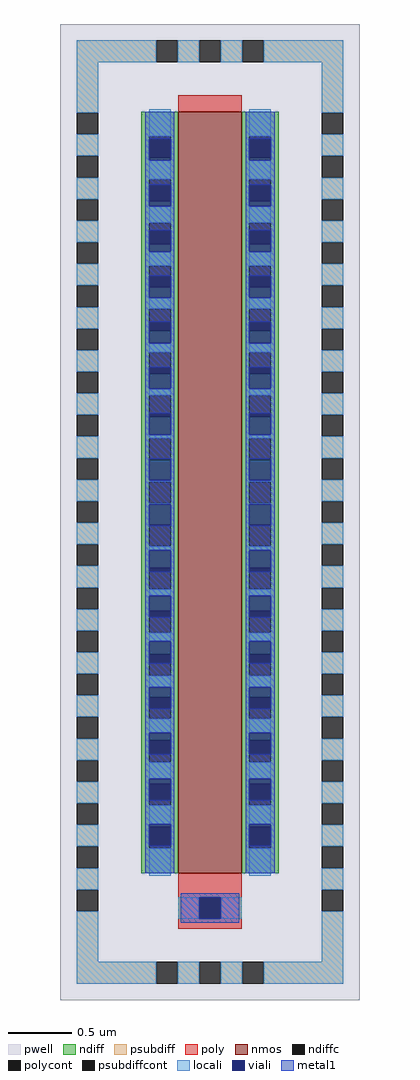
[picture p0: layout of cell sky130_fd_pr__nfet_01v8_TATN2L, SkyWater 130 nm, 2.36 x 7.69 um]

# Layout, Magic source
magic
tech sky130A
magscale 1 2
<< pwell >>
rect -236 -769 236 769
<< nmos >>
rect -50 -569 50 631
<< ndiff >>
rect -108 592 -50 631
rect -108 558 -96 592
rect -62 558 -50 592
rect -108 524 -50 558
rect -108 490 -96 524
rect -62 490 -50 524
rect -108 456 -50 490
rect -108 422 -96 456
rect -62 422 -50 456
rect -108 388 -50 422
rect -108 354 -96 388
rect -62 354 -50 388
rect -108 320 -50 354
rect -108 286 -96 320
rect -62 286 -50 320
rect -108 252 -50 286
rect -108 218 -96 252
rect -62 218 -50 252
rect -108 184 -50 218
rect -108 150 -96 184
rect -62 150 -50 184
rect -108 116 -50 150
rect -108 82 -96 116
rect -62 82 -50 116
rect -108 48 -50 82
rect -108 14 -96 48
rect -62 14 -50 48
rect -108 -20 -50 14
rect -108 -54 -96 -20
rect -62 -54 -50 -20
rect -108 -88 -50 -54
rect -108 -122 -96 -88
rect -62 -122 -50 -88
rect -108 -156 -50 -122
rect -108 -190 -96 -156
rect -62 -190 -50 -156
rect -108 -224 -50 -190
rect -108 -258 -96 -224
rect -62 -258 -50 -224
rect -108 -292 -50 -258
rect -108 -326 -96 -292
rect -62 -326 -50 -292
rect -108 -360 -50 -326
rect -108 -394 -96 -360
rect -62 -394 -50 -360
rect -108 -428 -50 -394
rect -108 -462 -96 -428
rect -62 -462 -50 -428
rect -108 -496 -50 -462
rect -108 -530 -96 -496
rect -62 -530 -50 -496
rect -108 -569 -50 -530
rect 50 592 108 631
rect 50 558 62 592
rect 96 558 108 592
rect 50 524 108 558
rect 50 490 62 524
rect 96 490 108 524
rect 50 456 108 490
rect 50 422 62 456
rect 96 422 108 456
rect 50 388 108 422
rect 50 354 62 388
rect 96 354 108 388
rect 50 320 108 354
rect 50 286 62 320
rect 96 286 108 320
rect 50 252 108 286
rect 50 218 62 252
rect 96 218 108 252
rect 50 184 108 218
rect 50 150 62 184
rect 96 150 108 184
rect 50 116 108 150
rect 50 82 62 116
rect 96 82 108 116
rect 50 48 108 82
rect 50 14 62 48
rect 96 14 108 48
rect 50 -20 108 14
rect 50 -54 62 -20
rect 96 -54 108 -20
rect 50 -88 108 -54
rect 50 -122 62 -88
rect 96 -122 108 -88
rect 50 -156 108 -122
rect 50 -190 62 -156
rect 96 -190 108 -156
rect 50 -224 108 -190
rect 50 -258 62 -224
rect 96 -258 108 -224
rect 50 -292 108 -258
rect 50 -326 62 -292
rect 96 -326 108 -292
rect 50 -360 108 -326
rect 50 -394 62 -360
rect 96 -394 108 -360
rect 50 -428 108 -394
rect 50 -462 62 -428
rect 96 -462 108 -428
rect 50 -496 108 -462
rect 50 -530 62 -496
rect 96 -530 108 -496
rect 50 -569 108 -530
<< ndiffc >>
rect -96 558 -62 592
rect -96 490 -62 524
rect -96 422 -62 456
rect -96 354 -62 388
rect -96 286 -62 320
rect -96 218 -62 252
rect -96 150 -62 184
rect -96 82 -62 116
rect -96 14 -62 48
rect -96 -54 -62 -20
rect -96 -122 -62 -88
rect -96 -190 -62 -156
rect -96 -258 -62 -224
rect -96 -326 -62 -292
rect -96 -394 -62 -360
rect -96 -462 -62 -428
rect -96 -530 -62 -496
rect 62 558 96 592
rect 62 490 96 524
rect 62 422 96 456
rect 62 354 96 388
rect 62 286 96 320
rect 62 218 96 252
rect 62 150 96 184
rect 62 82 96 116
rect 62 14 96 48
rect 62 -54 96 -20
rect 62 -122 96 -88
rect 62 -190 96 -156
rect 62 -258 96 -224
rect 62 -326 96 -292
rect 62 -394 96 -360
rect 62 -462 96 -428
rect 62 -530 96 -496
<< psubdiff >>
rect -210 709 -85 743
rect -51 709 -17 743
rect 17 709 51 743
rect 85 709 210 743
rect -210 629 -176 709
rect -210 561 -176 595
rect -210 493 -176 527
rect -210 425 -176 459
rect -210 357 -176 391
rect -210 289 -176 323
rect -210 221 -176 255
rect -210 153 -176 187
rect -210 85 -176 119
rect -210 17 -176 51
rect -210 -51 -176 -17
rect -210 -119 -176 -85
rect -210 -187 -176 -153
rect -210 -255 -176 -221
rect -210 -323 -176 -289
rect -210 -391 -176 -357
rect -210 -459 -176 -425
rect -210 -527 -176 -493
rect -210 -595 -176 -561
rect 176 629 210 709
rect 176 561 210 595
rect 176 493 210 527
rect 176 425 210 459
rect 176 357 210 391
rect 176 289 210 323
rect 176 221 210 255
rect 176 153 210 187
rect 176 85 210 119
rect 176 17 210 51
rect 176 -51 210 -17
rect 176 -119 210 -85
rect 176 -187 210 -153
rect 176 -255 210 -221
rect 176 -323 210 -289
rect 176 -391 210 -357
rect 176 -459 210 -425
rect 176 -527 210 -493
rect -210 -709 -176 -629
rect 176 -595 210 -561
rect 176 -709 210 -629
rect -210 -743 -85 -709
rect -51 -743 -17 -709
rect 17 -743 51 -709
rect 85 -743 210 -709
<< psubdiffcont >>
rect -85 709 -51 743
rect -17 709 17 743
rect 51 709 85 743
rect -210 595 -176 629
rect -210 527 -176 561
rect -210 459 -176 493
rect -210 391 -176 425
rect -210 323 -176 357
rect -210 255 -176 289
rect -210 187 -176 221
rect -210 119 -176 153
rect -210 51 -176 85
rect -210 -17 -176 17
rect -210 -85 -176 -51
rect -210 -153 -176 -119
rect -210 -221 -176 -187
rect -210 -289 -176 -255
rect -210 -357 -176 -323
rect -210 -425 -176 -391
rect -210 -493 -176 -459
rect -210 -561 -176 -527
rect 176 595 210 629
rect 176 527 210 561
rect 176 459 210 493
rect 176 391 210 425
rect 176 323 210 357
rect 176 255 210 289
rect 176 187 210 221
rect 176 119 210 153
rect 176 51 210 85
rect 176 -17 210 17
rect 176 -85 210 -51
rect 176 -153 210 -119
rect 176 -221 210 -187
rect 176 -289 210 -255
rect 176 -357 210 -323
rect 176 -425 210 -391
rect 176 -493 210 -459
rect 176 -561 210 -527
rect -210 -629 -176 -595
rect 176 -629 210 -595
rect -85 -743 -51 -709
rect -17 -743 17 -709
rect 51 -743 85 -709
<< poly >>
rect -50 631 50 657
rect -50 -607 50 -569
rect -50 -641 -17 -607
rect 17 -641 50 -607
rect -50 -657 50 -641
<< polycont >>
rect -17 -641 17 -607
<< locali >>
rect -210 709 -85 743
rect -51 709 -17 743
rect 17 709 51 743
rect 85 709 210 743
rect -210 629 -176 709
rect -210 561 -176 595
rect -210 493 -176 527
rect -210 425 -176 459
rect -210 357 -176 391
rect -210 289 -176 323
rect -210 221 -176 255
rect -210 153 -176 187
rect -210 85 -176 119
rect -210 17 -176 51
rect -210 -51 -176 -17
rect -210 -119 -176 -85
rect -210 -187 -176 -153
rect -210 -255 -176 -221
rect -210 -323 -176 -289
rect -210 -391 -176 -357
rect -210 -459 -176 -425
rect -210 -527 -176 -493
rect -210 -595 -176 -561
rect -96 592 -62 635
rect -96 524 -62 554
rect -96 456 -62 482
rect -96 388 -62 410
rect -96 320 -62 338
rect -96 252 -62 266
rect -96 184 -62 194
rect -96 116 -62 122
rect -96 48 -62 50
rect -96 12 -62 14
rect -96 -60 -62 -54
rect -96 -132 -62 -122
rect -96 -204 -62 -190
rect -96 -276 -62 -258
rect -96 -348 -62 -326
rect -96 -420 -62 -394
rect -96 -492 -62 -462
rect -96 -573 -62 -530
rect 62 592 96 635
rect 62 524 96 554
rect 62 456 96 482
rect 62 388 96 410
rect 62 320 96 338
rect 62 252 96 266
rect 62 184 96 194
rect 62 116 96 122
rect 62 48 96 50
rect 62 12 96 14
rect 62 -60 96 -54
rect 62 -132 96 -122
rect 62 -204 96 -190
rect 62 -276 96 -258
rect 62 -348 96 -326
rect 62 -420 96 -394
rect 62 -492 96 -462
rect 62 -573 96 -530
rect 176 629 210 709
rect 176 561 210 595
rect 176 493 210 527
rect 176 425 210 459
rect 176 357 210 391
rect 176 289 210 323
rect 176 221 210 255
rect 176 153 210 187
rect 176 85 210 119
rect 176 17 210 51
rect 176 -51 210 -17
rect 176 -119 210 -85
rect 176 -187 210 -153
rect 176 -255 210 -221
rect 176 -323 210 -289
rect 176 -391 210 -357
rect 176 -459 210 -425
rect 176 -527 210 -493
rect 176 -595 210 -561
rect -210 -709 -176 -629
rect -50 -641 -17 -607
rect 17 -641 50 -607
rect 176 -709 210 -629
rect -210 -743 -85 -709
rect -51 -743 -17 -709
rect 17 -743 51 -709
rect 85 -743 210 -709
<< viali >>
rect -96 558 -62 588
rect -96 554 -62 558
rect -96 490 -62 516
rect -96 482 -62 490
rect -96 422 -62 444
rect -96 410 -62 422
rect -96 354 -62 372
rect -96 338 -62 354
rect -96 286 -62 300
rect -96 266 -62 286
rect -96 218 -62 228
rect -96 194 -62 218
rect -96 150 -62 156
rect -96 122 -62 150
rect -96 82 -62 84
rect -96 50 -62 82
rect -96 -20 -62 12
rect -96 -22 -62 -20
rect -96 -88 -62 -60
rect -96 -94 -62 -88
rect -96 -156 -62 -132
rect -96 -166 -62 -156
rect -96 -224 -62 -204
rect -96 -238 -62 -224
rect -96 -292 -62 -276
rect -96 -310 -62 -292
rect -96 -360 -62 -348
rect -96 -382 -62 -360
rect -96 -428 -62 -420
rect -96 -454 -62 -428
rect -96 -496 -62 -492
rect -96 -526 -62 -496
rect 62 558 96 588
rect 62 554 96 558
rect 62 490 96 516
rect 62 482 96 490
rect 62 422 96 444
rect 62 410 96 422
rect 62 354 96 372
rect 62 338 96 354
rect 62 286 96 300
rect 62 266 96 286
rect 62 218 96 228
rect 62 194 96 218
rect 62 150 96 156
rect 62 122 96 150
rect 62 82 96 84
rect 62 50 96 82
rect 62 -20 96 12
rect 62 -22 96 -20
rect 62 -88 96 -60
rect 62 -94 96 -88
rect 62 -156 96 -132
rect 62 -166 96 -156
rect 62 -224 96 -204
rect 62 -238 96 -224
rect 62 -292 96 -276
rect 62 -310 96 -292
rect 62 -360 96 -348
rect 62 -382 96 -360
rect 62 -428 96 -420
rect 62 -454 96 -428
rect 62 -496 96 -492
rect 62 -526 96 -496
rect -17 -641 17 -607
<< metal1 >>
rect -102 588 -56 631
rect -102 554 -96 588
rect -62 554 -56 588
rect -102 516 -56 554
rect -102 482 -96 516
rect -62 482 -56 516
rect -102 444 -56 482
rect -102 410 -96 444
rect -62 410 -56 444
rect -102 372 -56 410
rect -102 338 -96 372
rect -62 338 -56 372
rect -102 300 -56 338
rect -102 266 -96 300
rect -62 266 -56 300
rect -102 228 -56 266
rect -102 194 -96 228
rect -62 194 -56 228
rect -102 156 -56 194
rect -102 122 -96 156
rect -62 122 -56 156
rect -102 84 -56 122
rect -102 50 -96 84
rect -62 50 -56 84
rect -102 12 -56 50
rect -102 -22 -96 12
rect -62 -22 -56 12
rect -102 -60 -56 -22
rect -102 -94 -96 -60
rect -62 -94 -56 -60
rect -102 -132 -56 -94
rect -102 -166 -96 -132
rect -62 -166 -56 -132
rect -102 -204 -56 -166
rect -102 -238 -96 -204
rect -62 -238 -56 -204
rect -102 -276 -56 -238
rect -102 -310 -96 -276
rect -62 -310 -56 -276
rect -102 -348 -56 -310
rect -102 -382 -96 -348
rect -62 -382 -56 -348
rect -102 -420 -56 -382
rect -102 -454 -96 -420
rect -62 -454 -56 -420
rect -102 -492 -56 -454
rect -102 -526 -96 -492
rect -62 -526 -56 -492
rect -102 -569 -56 -526
rect 56 588 102 631
rect 56 554 62 588
rect 96 554 102 588
rect 56 516 102 554
rect 56 482 62 516
rect 96 482 102 516
rect 56 444 102 482
rect 56 410 62 444
rect 96 410 102 444
rect 56 372 102 410
rect 56 338 62 372
rect 96 338 102 372
rect 56 300 102 338
rect 56 266 62 300
rect 96 266 102 300
rect 56 228 102 266
rect 56 194 62 228
rect 96 194 102 228
rect 56 156 102 194
rect 56 122 62 156
rect 96 122 102 156
rect 56 84 102 122
rect 56 50 62 84
rect 96 50 102 84
rect 56 12 102 50
rect 56 -22 62 12
rect 96 -22 102 12
rect 56 -60 102 -22
rect 56 -94 62 -60
rect 96 -94 102 -60
rect 56 -132 102 -94
rect 56 -166 62 -132
rect 96 -166 102 -132
rect 56 -204 102 -166
rect 56 -238 62 -204
rect 96 -238 102 -204
rect 56 -276 102 -238
rect 56 -310 62 -276
rect 96 -310 102 -276
rect 56 -348 102 -310
rect 56 -382 62 -348
rect 96 -382 102 -348
rect 56 -420 102 -382
rect 56 -454 62 -420
rect 96 -454 102 -420
rect 56 -492 102 -454
rect 56 -526 62 -492
rect 96 -526 102 -492
rect 56 -569 102 -526
rect -46 -607 46 -601
rect -46 -641 -17 -607
rect 17 -641 46 -607
rect -46 -647 46 -641
<< properties >>
string FIXED_BBOX -193 -726 193 726
<< end >>
